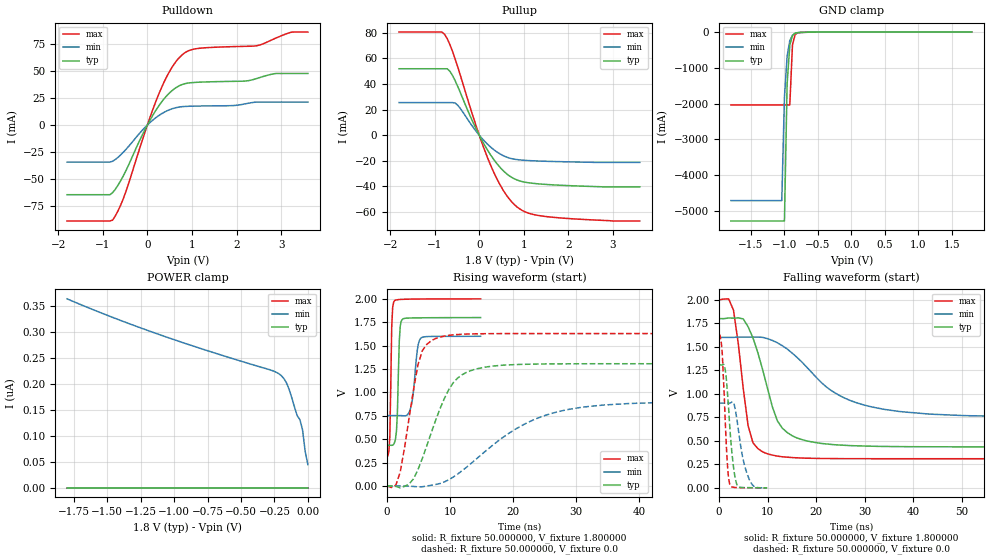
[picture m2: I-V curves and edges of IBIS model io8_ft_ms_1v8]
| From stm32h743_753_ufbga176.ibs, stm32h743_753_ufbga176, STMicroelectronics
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|   Model io8_ft_ms_1v8
[Model]  io8_ft_ms_1v8
Model_type I/O
Polarity   Non-Inverting
Enable   Active-Low
Vinl =   0.540000V
Vinh =   1.260000V
Vmeas =  0.900000V
Cref =   40.000000pF
Rref =   100.000000M
Vref =   0.0V
C_comp   3.171800pF   3.142100pF   3.257600pF
[Temperature Range]   25.000000   0.140000k   -40.000000
[Pullup Reference]   1.800000V   1.600000V   2.000000V
[Pulldown Reference]   0.0V   0.0V   0.0V
[POWER Clamp Reference]   1.800000V   1.600000V   2.000000V
[GND Clamp Reference]   0.0V   0.0V   0.0V
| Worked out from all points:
|   slope of the pulldown table from 0 to 0.27 V, typ, clamps not added: 14.5 ohm
|   slope of the pullup table from 0 to 0.27 V, typ, clamps not added: 16.7 ohm
|   GND clamp passes 1 mA (typ) near -0.49 V on its own axis
|   rising waveform, R_fixture 50.000000, V_fixture 1.800000: 20-80 % time 346ps typ, 745ps min, 258ps max; typ from 0.436 V to 1.8 V
|   rising waveform, R_fixture 50.000000, V_fixture 0.0: 20-80 % time 4.53ns typ, 11.5ns min, 2.38ns max; typ from 0 V to 1.31 V
|   falling waveform, R_fixture 50.000000, V_fixture 1.800000: 20-80 % time 4.64ns typ, 12.3ns min, 2.45ns max; typ from 1.8 V to 0.436 V
|   falling waveform, R_fixture 50.000000, V_fixture 0.0: 20-80 % time 1.2ns typ, 1.88ns min, 849ps max; typ from 1.31 V to 0 V
[Pulldown]
|Voltage   I(typ)   I(min)   I(max)
-1.8V     -64.86mA   -34.49mA   -89.34mA
-780mV    -63.02mA   -33.74mA   -88.51mA
-540mV    -47.38mA   -25.35mA   -68.57mA
-60mV     -4.803mA   -2.495mA   -7.416mA
300mV     20.37mA    10mA       33.08mA
540mV     31.54mA    14.9mA     52.85mA
780mV     37.68mA    17.08mA    65.31mA
1.14V     39.81mA    17.65mA    71.28mA
2.46V     43.35mA    21.4mA     73.82mA
2.88V     47.94mA    21.4mA     80.87mA
3.24V     47.94mA    21.4mA     86.48mA
3.6V      47.94mA    21.4mA     86.53mA
[Pullup]
|Voltage   I(typ)   I(min)   I(max)
-1.8V     51.98mA    25.54mA    80.68mA
-840mV    51.98mA    25.54mA    80.68mA
-780mV    51.98mA    25.54mA    78.97mA
-660mV    50.05mA    25.54mA    70.96mA
-480mV    37.9mA     23.32mA    53.07mA
-120mV    8.557mA    5.369mA    12.56mA
240mV     -14.62mA   -8.774mA   -22.23mA
540mV     -27.79mA   -15.97mA   -43.15mA
840mV     -34.85mA   -18.97mA   -55.83mA
1.08V     -36.98mA   -19.71mA   -60.57mA
1.5V      -38.43mA   -20.32mA   -63.52mA
3.6V      -40.3mA    -21.2mA    -67mA
[GND_clamp]
|Voltage   I(typ)   I(min)   I(max)
-1.8V     -5.279A    -4.707A    -2.038A
-1.04V    -5.279A    -4.707A    -2.038A
-1V       -5.279A    -1.816A    -2.038A
-960mV    -1.443A    -671.6mA   -2.038A
-920mV    -368.1mA   -241.4mA   -2.038A
-880mV    -95.78mA   -89.36mA   -359.4mA
-840mV    -32.05mA   -36.9mA    -67.6mA
-800mV    -16.14mA   -18.39mA   -21.96mA
-760mV    -10.94mA   -11.34mA   -13.1mA
-520mV    -1.549mA   -2.045mA   -1.468mA
1.8V      0A         -17.53nA   0A
[POWER_clamp]
|Voltage   I(typ)   I(min)   I(max)
-1.8V     0A         364.3nA    0A
-1.14V    0A         298.1nA    0A
-280mV    0A         227.2nA    0A
-220mV    0A         220.5nA    0A
-180mV    0A         210.9nA    0A
-160mV    0A         202.3nA    0A
-140mV    0A         189.7nA    0A
-80mV     0A         139.2nA    0A
-60mV     0A         131.6nA    0A
-40mV     0A         112.2nA    0A
-20mV     0A         69.75nA    0A
0V        0A         44.72nA    0A
[Ramp]
| variable   typ   min   max
dV/dt_r  0.78396/4.50376n   0.54061/11.50485n   0.97590/2.34432n
dV/dt_f  0.81857/4.59674n   0.50866/12.21541n   1.01522/2.36310n
R_load = 50.000000
[Rising Waveform]
R_fixture= 50.000000
V_fixture= 1.800000
V_fixture_min= 1.600000
V_fixture_max= 2.000000
|time   V(typ)   V(min)   V(max)
0s        435.7mV    752.2mV    309.4mV
450.5ps   435.4mV    752.2mV    528.7mV
750.8ps   433.9mV    752.2mV    1.704V
1.201ns   464.6mV    752.2mV    1.981V
1.652ns   782mV      752.3mV    1.99V
1.952ns   1.549V     752.2mV    1.993V
2.402ns   1.778V     751mV      1.995V
3.904ns   1.796V     873.3mV    1.998V
5.405ns   1.797V     1.582V     1.998V
14.86ns   1.8V       1.6V       2V
[Rising Waveform]
R_fixture= 50.000000
V_fixture= 0.0
V_fixture_min= 0.0
V_fixture_max= 0.0
|time   V(typ)   V(min)   V(max)
0s        -2.372uV   709.6nV    -327.4uV
2.102ns   -20.55mV   37.32uV    147.6mV
4.204ns   74.81mV    -5.494mV   1.025V
5.606ns   292.9mV    -8.761mV   1.446V
7.708ns   698.8mV    15.06mV    1.576V
9.81ns    1.03V      66.39mV    1.61V
12.61ns   1.214V     199mV      1.624V
20.32ns   1.297V     603.9mV    1.629V
28.03ns   1.305V     807mV      1.629V
69.37ns   1.307V     901.1mV    1.629V
[Falling Waveform]
R_fixture= 50.000000
V_fixture= 1.800000
V_fixture_min= 1.600000
V_fixture_max= 2.000000
|time   V(typ)   V(min)   V(max)
0s        1.8V       1.6V       2V
3.003ns   1.805V     1.6V       1.889V
6.006ns   1.713V     1.603V     660.2mV
7.007ns   1.595V     1.604V     478.7mV
10.01ns   1.054V     1.586V     360.9mV
12.01ns   713.6mV    1.543V     337.4mV
15.02ns   555.4mV    1.435V     321.7mV
24.02ns   457.5mV    1.005V     310.8mV
34.03ns   440mV      834.1mV    309.5mV
99.1ns    435.7mV    752.2mV    309.4mV
[Falling Waveform]
R_fixture= 50.000000
V_fixture= 0.0
V_fixture_min= 0.0
V_fixture_max= 0.0
|time   V(typ)   V(min)   V(max)
0s        1.307V     901.1mV    1.629V
600.6ps   1.307V     901.1mV    1.49V
1.201ns   1.282V     901.1mV    841.8mV
1.702ns   1.049V     901.1mV    287.2mV
2.202ns   674.4mV    901.3mV    42.57mV
3.103ns   180.5mV    892.1mV    4.899mV
3.904ns   16.55mV    653.7mV    1.849mV
4.905ns   3.101mV    320.4mV    725.5uV
6.306ns   1.644mV    81.72mV    143.3uV
9.91ns    -2.372uV   709.6nV    -327.4uV
